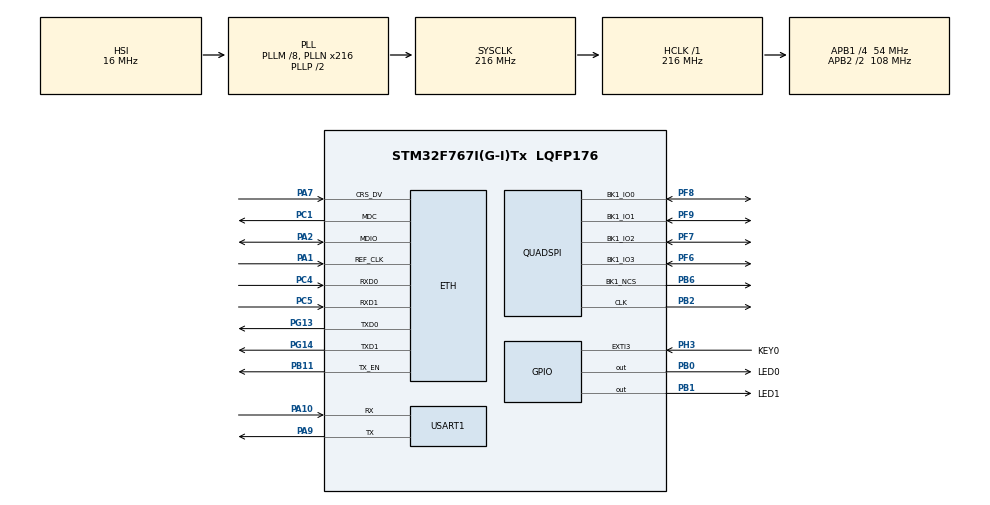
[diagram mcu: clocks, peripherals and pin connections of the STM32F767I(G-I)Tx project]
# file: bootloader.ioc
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CORTEX_M7.CPU_DCache=Enabled
CORTEX_M7.CPU_ICache=Enabled
Dma.Request0=USART1_TX
Dma.Request1=USART1_RX
Dma.USART1_RX.1.Direction=DMA_PERIPH_TO_MEMORY
Dma.USART1_RX.1.FIFOMode=DMA_FIFOMODE_DISABLE
Dma.USART1_RX.1.Instance=DMA2_Stream2
Dma.USART1_RX.1.MemDataAlignment=DMA_MDATAALIGN_BYTE
Dma.USART1_RX.1.MemInc=DMA_MINC_ENABLE
Dma.USART1_RX.1.Mode=DMA_NORMAL
Dma.USART1_RX.1.PeriphDataAlignment=DMA_PDATAALIGN_BYTE
Dma.USART1_RX.1.PeriphInc=DMA_PINC_DISABLE
Dma.USART1_RX.1.Priority=DMA_PRIORITY_LOW
Dma.USART1_TX.0.Direction=DMA_MEMORY_TO_PERIPH
Dma.USART1_TX.0.FIFOMode=DMA_FIFOMODE_DISABLE
Dma.USART1_TX.0.Instance=DMA2_Stream7
Dma.USART1_TX.0.MemDataAlignment=DMA_MDATAALIGN_BYTE
Dma.USART1_TX.0.MemInc=DMA_MINC_ENABLE
Dma.USART1_TX.0.Mode=DMA_NORMAL
Dma.USART1_TX.0.PeriphDataAlignment=DMA_PDATAALIGN_BYTE
Dma.USART1_TX.0.PeriphInc=DMA_PINC_DISABLE
Dma.USART1_TX.0.Priority=DMA_PRIORITY_LOW
ETH.MediaInterface=HAL_ETH_RMII_MODE
FREERTOS.Tasks01=defaultTask,0,4096,StartDefaultTask,Default,NULL,Dynamic,NULL,NULL;feedDogTask,-3,2048,StartTask02,Default,NULL,Dynamic,NULL,NULL
FREERTOS.configMINIMAL_STACK_SIZE=2048
FREERTOS.configTOTAL_HEAP_SIZE=204800
FREERTOS.configUSE_NEWLIB_REENTRANT=1
LWIP.BSP.number=1
LWIP.DEFAULT_THREAD_STACKSIZE=2048
LWIP.GATEWAY_ADDRESS=192.168.001.001
LWIP.IP_ADDRESS=192.168.001.010
LWIP.LWIP_ARP=1
LWIP.LWIP_DHCP=0
LWIP.NETMASK_ADDRESS=255.255.255.000
LWIP.SLIPIF_THREAD_STACKSIZE=2048
LWIP.TCPIP_THREAD_NAME="tcpip_thread1"
LWIP.TCPIP_THREAD_STACKSIZE=2048
LWIP.Version=v2.1.2_Cube
LWIP0.BSP.STBoard=false
LWIP0.BSP.api=BSP_COMPONENT_DRIVER
LWIP0.BSP.component=LAN8742
LWIP0.BSP.instance=LAN8742
LWIP0.BSP.name=Driver_PHY
LWIP0.BSP.semaphore=S_LAN8742
LWIP0.BSP.solution=LAN8742
Mcu.Family=STM32F7
Mcu.Name=STM32F767I(G-I)Tx
Mcu.Package=LQFP176
NVIC.DMA2_Stream2_IRQn=true\:5\:0\:false\:false\:true\:true\:false\:true\:true
NVIC.DMA2_Stream7_IRQn=true\:5\:0\:false\:false\:true\:true\:false\:true\:true
NVIC.ETH_IRQn=true\:5\:0\:false\:false\:true\:true\:false\:true\:true
NVIC.EXTI3_IRQn=true\:5\:0\:false\:false\:true\:true\:true\:true\:true
NVIC.PriorityGroup=NVIC_PRIORITYGROUP_4
NVIC.TIM1_UP_TIM10_IRQn=true\:15\:0\:false\:false\:true\:false\:false\:true\:true
NVIC.TimeBase=TIM1_UP_TIM10_IRQn
NVIC.TimeBaseIP=TIM10
NVIC.USART1_IRQn=true\:5\:0\:false\:false\:true\:true\:true\:true\:true
PA1.Mode=RMII
PA1.Signal=ETH_REF_CLK
PA10.Mode=Asynchronous
PA10.Signal=USART1_RX
PA13.Mode=Trace_Synchro_4bits_JTAG
PA13.Signal=SYS_JTMS-SWDIO
PA14.Mode=Trace_Synchro_4bits_JTAG
PA14.Signal=SYS_JTCK-SWCLK
PA15.Mode=Trace_Synchro_4bits_JTAG
PA15.Signal=SYS_JTDI
PA2.Mode=RMII
PA2.Signal=ETH_MDIO
PA7.Mode=RMII
PA7.Signal=ETH_CRS_DV
PA9.Mode=Asynchronous
PA9.Signal=USART1_TX
PB0.GPIO_Label=LED0
PB0.PinState=GPIO_PIN_SET
PB0.Signal=GPIO_Output
PB1.GPIO_Label=LED1
PB1.PinState=GPIO_PIN_SET
PB1.Signal=GPIO_Output
PB11.Mode=RMII
PB11.Signal=ETH_TX_EN
PB2.Mode=Single Bank 1
PB2.Signal=QUADSPI_CLK
PB3.Mode=Trace_Synchro_4bits_JTAG
PB3.Signal=SYS_JTDO-SWO
PB6.Mode=Single Bank 1
PB6.Signal=QUADSPI_BK1_NCS
PC1.Mode=RMII
PC1.Signal=ETH_MDC
PC14/OSC32_IN.Mode=LSE-External-Oscillator
PC14/OSC32_IN.Signal=RCC_OSC32_IN
PC15/OSC32_OUT.Mode=LSE-External-Oscillator
PC15/OSC32_OUT.Signal=RCC_OSC32_OUT
PC4.Mode=RMII
PC4.Signal=ETH_RXD0
PC5.Mode=RMII
PC5.Signal=ETH_RXD1
PE2.Mode=Trace_Synchro_4bits_JTAG
PE2.Signal=SYS_TRACECLK
PE3.Mode=Trace_Synchro_4bits_JTAG
PE3.Signal=SYS_TRACED0
PE4.Mode=Trace_Synchro_4bits_JTAG
PE4.Signal=SYS_TRACED1
PE5.Mode=Trace_Synchro_4bits_JTAG
PE5.Signal=SYS_TRACED2
PE6.Mode=Trace_Synchro_4bits_JTAG
PE6.Signal=SYS_TRACED3
PF6.Mode=Single Bank 1
PF6.Signal=QUADSPI_BK1_IO3
PF7.Mode=Single Bank 1
PF7.Signal=QUADSPI_BK1_IO2
PF8.Mode=Single Bank 1
PF8.Signal=QUADSPI_BK1_IO0
PF9.Mode=Single Bank 1
PF9.Signal=QUADSPI_BK1_IO1
PG13.Mode=RMII
PG13.Signal=ETH_TXD0
PG14.Mode=RMII
PG14.Signal=ETH_TXD1
PH0/OSC_IN.Mode=HSE-External-Oscillator
PH0/OSC_IN.Signal=RCC_OSC_IN
PH1/OSC_OUT.Mode=HSE-External-Oscillator
PH1/OSC_OUT.Signal=RCC_OSC_OUT
PH3.GPIO_Label=KEY0
PH3.GPIO_ModeDefaultEXTI=GPIO_MODE_IT_FALLING
PH3.GPIO_PuPd=GPIO_PULLUP
PH3.Signal=GPXTI3
ProjectManager.HeapSize=0x2000
ProjectManager.StackSize=0x2000
ProjectManager.TargetToolchain=STM32CubeIDE
QUADSPI.ChipSelectHighTime=QSPI_CS_HIGH_TIME_5_CYCLE
QUADSPI.ClockPrescaler=1
QUADSPI.FifoThreshold=32
QUADSPI.FlashSize=24
QUADSPI.SampleShifting=QSPI_SAMPLE_SHIFTING_HALFCYCLE
RCC.AHBFreq_Value=216000000
RCC.APB1CLKDivider=RCC_HCLK_DIV4
RCC.APB1Freq_Value=54000000
RCC.APB1TimFreq_Value=108000000
RCC.APB2CLKDivider=RCC_HCLK_DIV2
RCC.APB2Freq_Value=108000000
RCC.APB2TimFreq_Value=216000000
RCC.CortexFreq_Value=216000000
RCC.HCLKFreq_Value=216000000
RCC.HSE_VALUE=25000000
RCC.HSI_VALUE=16000000
RCC.PLLM=8
RCC.PLLN=216
RCC.SYSCLKFreq_VALUE=216000000
RCC.SYSCLKSource=RCC_SYSCLKSOURCE_PLLCLK
RCC.USART1CLockSelection=RCC_USART1CLKSOURCE_SYSCLK
RCC.USBFreq_Value=216000000
RCC.VCOOutputFreq_Value=432000000
USART1.VirtualMode-Asynchronous=VM_ASYNC
VP_FREERTOS_VS_CMSIS_V1.Mode=CMSIS_V1
VP_LWIP_VS_Enabled.Mode=Enabled
VP_SYS_VS_tim10.Mode=TIM10
board=custom

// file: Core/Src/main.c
/* USER CODE BEGIN Header */
/**
  ******************************************************************************
  * @file           : main.c
  * @brief          : Main program body
  ******************************************************************************
  * @attention
  *
  * Copyright (c) 2024 STMicroelectronics.
  * All rights reserved.
  *
  * This software is licensed under terms that can be found in the LICENSE file
  * in the root directory of this software component.
  * If no LICENSE file comes with this software, it is provided AS-IS.
  *
  ******************************************************************************
  */
/* USER CODE END Header */
#include "main.h"
#include "cmsis_os.h"
#include "dma.h"
#include "lwip.h"
#include "quadspi.h"
#include "usart.h"
#include "gpio.h"

/* USER CODE BEGIN Includes */
#include "pcf8574.h"
#include "delay.h"
/* USER CODE END Includes */

void SystemClock_Config(void);
void MX_FREERTOS_Init(void);

int main(void)
{
/* Enable the CPU Cache */

  /* Enable I-Cache---------------------------------------------------------*/
  SCB_EnableICache();

  /* Enable D-Cache---------------------------------------------------------*/
  SCB_EnableDCache();

  /* MCU Configuration--------------------------------------------------------*/

  /* Reset of all peripherals, Initializes the Flash interface and the Systick. */
  HAL_Init();

  /* Configure the system clock */
  SystemClock_Config();

  /* USER CODE BEGIN SysInit */
  SCB->CACR|=1<<2;  //强制D-Cache�?写,如�?开�?�,实际使用中�?�能�?�到�?��?问题
  delay_init();
  /* USER CODE END SysInit */

  /* Initialize all configured peripherals */
  MX_GPIO_Init();
  MX_DMA_Init();
  MX_USART1_UART_Init();
  MX_QUADSPI_Init();
  /* USER CODE BEGIN 2 */
  PCF8574_Init();
	PCF8574_WriteBit(ETH_RESET_IO,1);
	delay_ms(100);
	PCF8574_WriteBit(ETH_RESET_IO,0);
	delay_ms(100);
  /* USER CODE END 2 */

  /* Call init function for freertos objects (in freertos.c) */
  MX_FREERTOS_Init();

  /* Start scheduler */
  osKernelStart();

  /* We should never get here as control is now taken by the scheduler */
  /* Infinite loop */
  while (1)
  {

  }
}

void SystemClock_Config(void)
{
  RCC_OscInitTypeDef RCC_OscInitStruct = {0};
  RCC_ClkInitTypeDef RCC_ClkInitStruct = {0};

  /** Configure LSE Drive Capability
  */
  HAL_PWR_EnableBkUpAccess();

  /** Configure the main internal regulator output voltage
  */
  __HAL_RCC_PWR_CLK_ENABLE();
  __HAL_PWR_VOLTAGESCALING_CONFIG(PWR_REGULATOR_VOLTAGE_SCALE1);

  /** Initializes the RCC Oscillators according to the specified parameters
  * in the RCC_OscInitTypeDef structure.
  */
  RCC_OscInitStruct.OscillatorType = RCC_OSCILLATORTYPE_HSI;
  RCC_OscInitStruct.HSIState = RCC_HSI_ON;
  RCC_OscInitStruct.HSICalibrationValue = RCC_HSICALIBRATION_DEFAULT;
  RCC_OscInitStruct.PLL.PLLState = RCC_PLL_ON;
  RCC_OscInitStruct.PLL.PLLSource = RCC_PLLSOURCE_HSI;
  RCC_OscInitStruct.PLL.PLLM = 8;
  RCC_OscInitStruct.PLL.PLLN = 216;
  RCC_OscInitStruct.PLL.PLLP = RCC_PLLP_DIV2;
  RCC_OscInitStruct.PLL.PLLQ = 2;
  RCC_OscInitStruct.PLL.PLLR = 2;
  if (HAL_RCC_OscConfig(&RCC_OscInitStruct) != HAL_OK)
  {
    Error_Handler();
  }

  /** Activate the Over-Drive mode
  */
  if (HAL_PWREx_EnableOverDrive() != HAL_OK)
  {
    Error_Handler();
  }

  /** Initializes the CPU, AHB and APB buses clocks
  */
  RCC_ClkInitStruct.ClockType = RCC_CLOCKTYPE_HCLK|RCC_CLOCKTYPE_SYSCLK
                              |RCC_CLOCKTYPE_PCLK1|RCC_CLOCKTYPE_PCLK2;
  RCC_ClkInitStruct.SYSCLKSource = RCC_SYSCLKSOURCE_PLLCLK;
  RCC_ClkInitStruct.AHBCLKDivider = RCC_SYSCLK_DIV1;
  RCC_ClkInitStruct.APB1CLKDivider = RCC_HCLK_DIV4;
  RCC_ClkInitStruct.APB2CLKDivider = RCC_HCLK_DIV2;

  if (HAL_RCC_ClockConfig(&RCC_ClkInitStruct, FLASH_LATENCY_7) != HAL_OK)
  {
    Error_Handler();
  }
}

void HAL_TIM_PeriodElapsedCallback(TIM_HandleTypeDef *htim)
{
  if (htim->Instance == TIM10) {
    HAL_IncTick();
  }
}

void Error_Handler(void)
{
  __disable_irq();
  while (1)
  {
  }
}

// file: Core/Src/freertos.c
/* USER CODE BEGIN Header */
/**
  ******************************************************************************
  * File Name          : freertos.c
  * Description        : Code for freertos applications
  ******************************************************************************
  * @attention
  *
  * Copyright (c) 2024 STMicroelectronics.
  * All rights reserved.
  *
  * This software is licensed under terms that can be found in the LICENSE file
  * in the root directory of this software component.
  * If no LICENSE file comes with this software, it is provided AS-IS.
  *
  ******************************************************************************
  */
/* USER CODE END Header */

#include "FreeRTOS.h"
#include "task.h"
#include "main.h"
#include "cmsis_os.h"

/* USER CODE BEGIN Includes */
#include "pcf8574.h"
#include <stdio.h>
#include "w25q256.h"
#include <stdbool.h>
#include "usart.h"
#include "iap.h"
#include <stdlib.h>
#include "services.h"
#include <string.h>

#include "lwip/sockets.h"
#include "lwip/netif.h"
#include "lwip/ip_addr.h"
/* USER CODE END Includes */

/* USER CODE BEGIN Variables */
osThreadId servicesTaskHandle;

uint8_t flashflag = 0;
SemaphoreHandle_t flash_mutex;

uint8_t APPValid = 0;

uint8_t jumpflag = 0;

QueueHandle_t  flashQueue;
/* USER CODE END Variables */
osThreadId defaultTaskHandle;
osThreadId feedDogTaskHandle;

/* USER CODE BEGIN FunctionPrototypes */
int tcp_server();

void StartTask03(void const * argument);
/* USER CODE END FunctionPrototypes */

void StartDefaultTask(void const * argument);
void StartTask02(void const * argument);

extern void MX_LWIP_Init(void);
void MX_FREERTOS_Init(void); /* (MISRA C 2004 rule 8.1) */

/* GetIdleTaskMemory prototype (linked to static allocation support) */
void vApplicationGetIdleTaskMemory( StaticTask_t **ppxIdleTaskTCBBuffer, StackType_t **ppxIdleTaskStackBuffer, uint32_t *pulIdleTaskStackSize );

/* USER CODE BEGIN GET_IDLE_TASK_MEMORY */
static StaticTask_t xIdleTaskTCBBuffer;
static StackType_t xIdleStack[configMINIMAL_STACK_SIZE];

void vApplicationGetIdleTaskMemory( StaticTask_t **ppxIdleTaskTCBBuffer, StackType_t **ppxIdleTaskStackBuffer, uint32_t *pulIdleTaskStackSize )
{
  *ppxIdleTaskTCBBuffer = &xIdleTaskTCBBuffer;
  *ppxIdleTaskStackBuffer = &xIdleStack[0];
  *pulIdleTaskStackSize = configMINIMAL_STACK_SIZE;
  /* place for user code */
}
/* USER CODE END GET_IDLE_TASK_MEMORY */

void MX_FREERTOS_Init(void) {

  /* USER CODE BEGIN RTOS_MUTEX */
  /* add mutexes, ... */
  flash_mutex = xSemaphoreCreateMutex();

  flashQueue = xQueueCreate(3,  ITEM_SIZE);
  /* USER CODE END RTOS_MUTEX */

  /* Create the thread(s) */
  /* definition and creation of defaultTask */
  osThreadDef(defaultTask, StartDefaultTask, osPriorityNormal, 0, 4096);
  defaultTaskHandle = osThreadCreate(osThread(defaultTask), NULL);

  /* definition and creation of feedDogTask */
  osThreadDef(feedDogTask, StartTask02, osPriorityIdle, 0, 2048);
  feedDogTaskHandle = osThreadCreate(osThread(feedDogTask), NULL);

  /* USER CODE BEGIN RTOS_THREADS */
  /* add threads, ... */
    osThreadDef(servicesTask, StartTask03, osPriorityIdle, 0, 4096);
    servicesTaskHandle = osThreadCreate(osThread(servicesTask), NULL);
  /* USER CODE END RTOS_THREADS */

}

int server_socket;
void StartDefaultTask(void const * argument)
{
  /* init code for LWIP */
  MX_LWIP_Init();
  /* USER CODE BEGIN StartDefaultTask */
  /* Infinite loop */

  printf("bootloader defult task started!!!\r\n");

  printf("wait for connection req from client\r\n");

  int client_sock = tcp_server();

  if(client_sock >= 0){
    xTaskNotify(feedDogTaskHandle, client_sock,  eNoAction);
    xTaskNotify(servicesTaskHandle, client_sock,  eNoAction);
  }

  for(;;)
  {
	  HAL_GPIO_WritePin(GPIOB, LED0_Pin, GPIO_PIN_SET);
	  osDelay(500);
	  HAL_GPIO_WritePin(GPIOB, LED0_Pin, GPIO_PIN_RESET);
	  osDelay(500);

	  if(jumpflag){
      printf("jump to APP\r\n");
      osDelay(2000);

      close(client_sock);
      close(server_socket);

      osDelay(2000);

      iap_load_app(FLASH_APP_ADDR);
    }

  }
  /* USER CODE END StartDefaultTask */
}

void StartTask02(void const * argument)
{
  /* USER CODE BEGIN StartTask02 */
  /* Infinite loop */
  int sock = 0;
  sock = ( ulTaskNotifyTake(pdFALSE,  portMAX_DELAY) )+1;

  printf("remote notify sock: %d\r\n", sock);

  osDelay(2000);

  uint32_t flashAddr = FLASH_APP_ADDR;
  printf("first flashaddr: %d\r\n", flashAddr);
  flashItem item_received;
  /* write flash */
  while (1)
  {
    if(xQueueReceive(flashQueue,  &item_received,  portMAX_DELAY)  ==  pdPASS)  {
        //  接收成功，处理数据
        //printf("Received item from the queue\r\n");
    }
    else{
        printf("Received from the queue failed!!!\r\n");
        continue;
    }

    if(xSemaphoreTake(flash_mutex,  portMAX_DELAY)  ==  pdTRUE)  {
      //  访问共享资源
      //flash
      flashAddr = flash_write(flashAddr, item_received.buf, item_received.len);

      if(item_received.len != 1024){
        //printf("this is the last flash!!!\r\n");
      }
      //  释放互斥量
      xSemaphoreGive(flash_mutex);
    }

  }

  /* USER CODE END StartTask02 */
}

/* USER CODE BEGIN Application */
void print_addr(struct sockaddr_in* addr){

    char ipAddress[INET_ADDRSTRLEN];

    inet_ntop(AF_INET, &(addr->sin_addr), ipAddress, INET_ADDRSTRLEN);

    printf("remote ip: %s\r\n", ipAddress);

    uint16_t port = ntohs(addr->sin_port);

    printf("remote port: %d\r\n", port);

    return;
}

int tcp_server(){
    server_socket;
    struct  sockaddr_in  server_addr,  client_addr;
    socklen_t  client_len  =  sizeof(client_addr);
    int  i,  new_sock;

    server_socket  =  socket(AF_INET,  SOCK_STREAM,  0);
    if  (server_socket  <  0)  {
        //  错误处理
        return -1;
    }

    // struct linger ling;
    // ling.l_onoff = 1;
    // ling.l_linger = 0;

    // if(setsockopt(server_socket,  SOL_SOCKET,  SO_LINGER,  &ling,  sizeof(ling))  <  0){
    //   printf("set server socket linger off failed!!\r\n");
    //   // const  char  *err_str  =  strerror(errno);
    //   // printf("Error  occurred:  %s\r\n",  err_str);
    //   close(server_socket);
    //   return -1;
    // }

    server_addr.sin_family  =  AF_INET;
    server_addr.sin_addr.s_addr  =  INADDR_ANY;
    server_addr.sin_port  =  htons(12345);

    if  (bind(server_socket,  (struct  sockaddr  *)&server_addr,  sizeof(server_addr))  <  0)  {
        //  错误处理
        printf("bind failed!!\r\n");
        close(server_socket);
        return -1;
    }

    if  (listen(server_socket,  3)  <  0)  {
        //  错误处理
        printf("listen error\r\n");
        closesocket(server_socket);
        return -1;
    }

    new_sock  =  accept(server_socket,  (struct  sockaddr  *)&client_addr,  &client_len);
    printf("new_sock: %d\r\n", new_sock);
    if  (new_sock  <  0)  {
        printf("accept error!!!\r\n");
        return -1;
    }
    else{
      print_addr(&client_addr);

      // struct linger ling;
      // ling.l_onoff = 1;
      // ling.l_linger = 0;

      // if(setsockopt(new_sock,  SOL_SOCKET,  SO_LINGER,  &ling,  sizeof(ling))  <  0){
      //   printf("set server socket linger off failed!!\r\n");
      //   // const  char  *err_str  =  strerror(errno);
      //   // printf("Error  occurred:  %s\r\n",  err_str);
      //   close(new_sock);
      //   return -1;
      // }
        return new_sock;
    }
}

int messageAnalysis(uint8_t *buf, int len, frame *message){
  if(len < 2) return -1;

  // message->cmd = (uint16_t)( (((uint16_t)(buf[0]<<8)) && 0xFF00) | (((uint16_t)(buf[1])) && 0x00FF) );
  // message->subfunc = (uint16_t)( (((uint16_t)(buf[2]<<8)) && 0xFF00) | (((uint16_t)(buf[3])) && 0x00FF) );

  message->cmd = buf[0];
  message->subfunc = buf[1];

  if(len > 2){
    message->data = buf+2;
    message->len = len-2;
  }

  return 0;
}

void StartTask03(void const * argument)
{
  /*
      单线程：接收、处理、发送
      多线程：接收线程、发送线程、服务处理，并不是异步，因为上位机是同步的，即使多线程下位机也相当于同步
  */
  int sock = 0;
  sock = ( ulTaskNotifyTake(pdFALSE,  portMAX_DELAY) )+1;

  osDelay(2000);

  uint8_t *rxbuffer = (uint8_t *)pvPortMalloc(sizeof(uint8_t) * 1048);
  uint8_t *txbuffer = (uint8_t *)pvPortMalloc(sizeof(uint8_t) * 32);

  while(1){
    int len = recv(sock, rxbuffer, 1048, 0);

    if(len>0){
      //printf("receive from client %d bytes\r\n", len);
    }
    else{
      printf("receive nothing \r\n");
      close(sock);
      break;
    }

    //analysis message
    frame message;

    if(messageAnalysis(rxbuffer, len, &message) < 0){
      printf("message analysis failed!!!\r\n");
      //send error frame warning...
      continue;
    }
    else{

    }

    //service analysis
    int lensend = 0;
    errorCode err = servicesAnalysis(&message, txbuffer, &lensend);
    if(err != NOERR){
      char errstr[30];
      analysisErr(err, errstr, 30);
      printf("service err: %s!!!\r\n", errstr);
      continue;
    }

    //send response
    if(send(sock, txbuffer, lensend, 0) < 0 ){
      printf("send faild!!!\r\n");
    }

    if(APPValid) break;

  }

  while (1)
  {
    /* code */
  }

}

/* USER CODE END Application */
